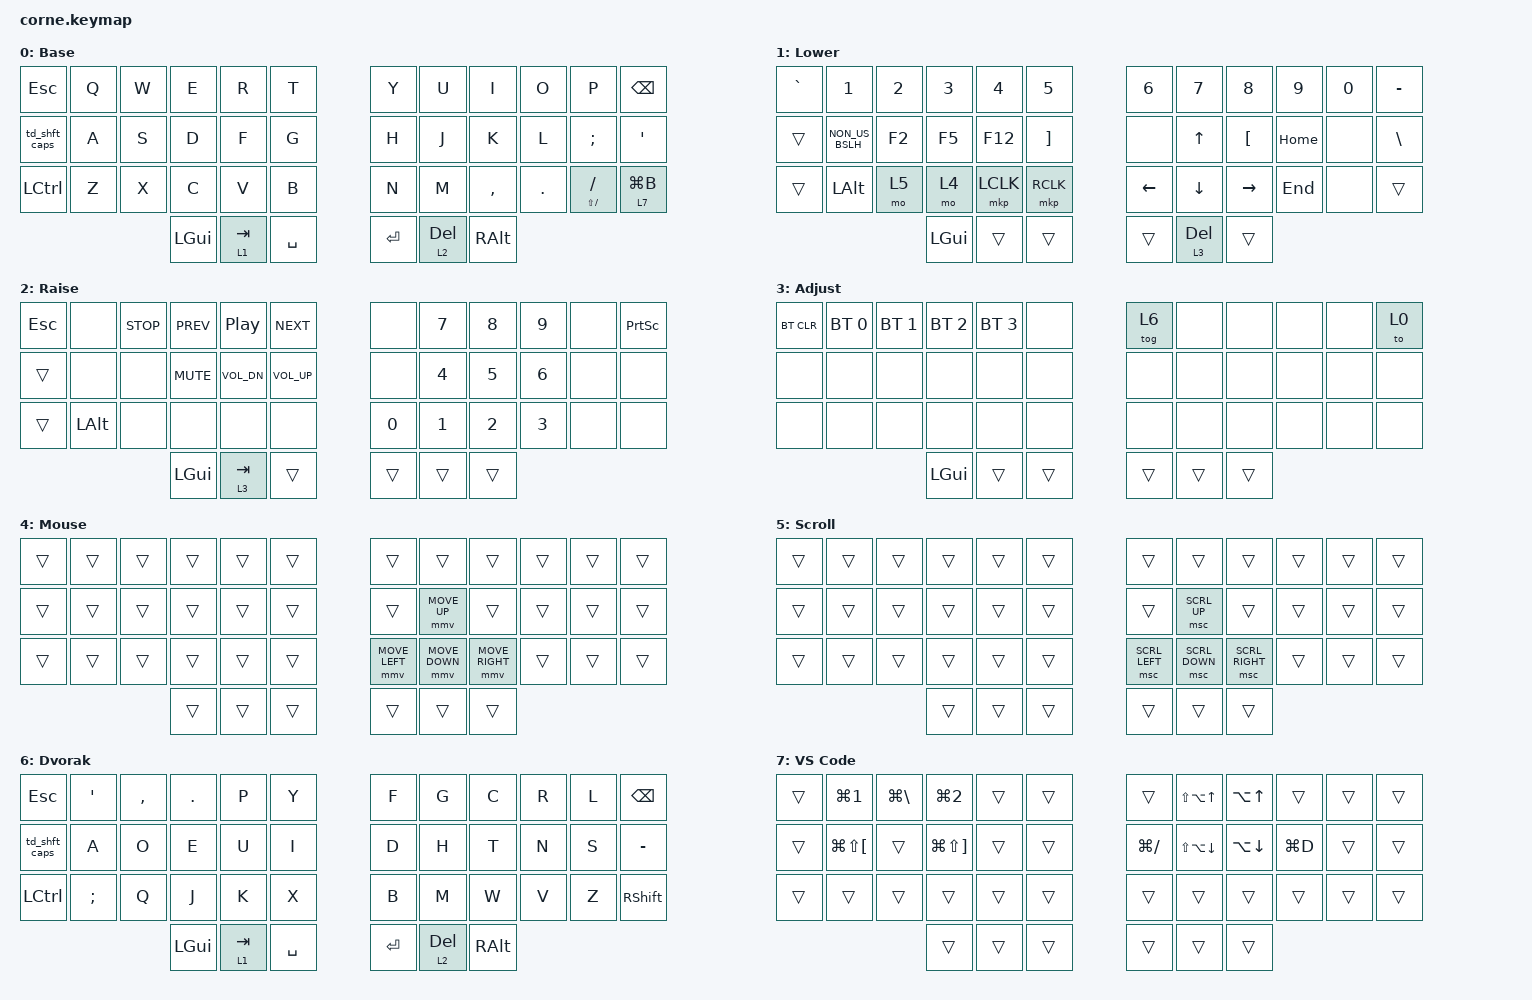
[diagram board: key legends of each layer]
/*
 * Copyright (c) 2020 The ZMK Contributors
 *
 * SPDX-License-Identifier: MIT
 */

#include <behaviors.dtsi>
#include <dt-bindings/zmk/keys.h>
#include <dt-bindings/zmk/bt.h>
#include <dt-bindings/zmk/pointing.h>

/ {
    behaviors {
        // Tap Dance: 1 toque = Shift Izq, 2 toques = Bloq Mayus
        td_shft_caps: tap_dance_shift_caps {
            compatible = "zmk,behavior-tap-dance";
            #binding-cells = <0>;
            tapping-term-ms = <200>;
            bindings = <&kp LSHFT>, <&kp CAPSLOCK>;
        };

        // Hold-Tap Personalizado: Mantener = Guion Bajo, Tocar = Guion Medio
        ht_under: hold_tap_under {
            compatible = "zmk,behavior-hold-tap";
            #binding-cells = <2>;
            flavor = "tap-preferred";
            tapping-term-ms = <200>;
            bindings = <&kp>, <&kp>;
        };
        
        // Configuración de movimiento del Mouse (Aceleración) original
        mmv {
            acceleration-exponent = <1>;
            time-to-max-speed-ms = <300>;
            delay-ms = <0>;
        };

        // Configuración de Scroll original
        msc {
            acceleration-exponent = <0>;
            time-to-max-speed-ms = <0>;
            delay-ms = <0>;
        };
    };

    combos {
        compatible = "zmk,combos";
        
        // COMBO: ESC + E = Format Code (Shift + Alt + F)
        combo_vscode_format {
            timeout-ms = <50>;
            key-positions = <0 3>; 
            bindings = <&kp LS(LA(F))>;
        };

        // COMBO: ESC + P = Command Palette (Shift + CMD/GUI + P)
        combo_vscode_palette {
            timeout-ms = <50>;
            key-positions = <0 10>; 
            bindings = <&kp LS(LG(P))>;
        };

        // COMBO: ESC + R = Screenshot Recorte (Shift + CMD/GUI + 4)
        combo_mac_screenshot_4 {
            timeout-ms = <50>;
            key-positions = <0 4>; 
            bindings = <&kp LS(LG(N4))>;
        };

        // COMBO: ESC + T = Screenshot Herramienta/Video (Shift + CMD/GUI + 5)
        combo_mac_screenshot_5 {
            timeout-ms = <50>;
            key-positions = <0 5>; 
            bindings = <&kp LS(LG(N5))>;
        };
    };

    keymap {
        compatible = "zmk,keymap";

        default_layer {
            display-name = "Base";
// -----------------------------------------------------------------------------------------
// |  ESC |  Q  |  W  |  E  |  R  |  T  |   |  Y  |  U   |  I  |  O  |  P  | BSPC |
// | SHFT*|  A  |  S  |  D  |  F  |  G  |   |  H  |  J   |  K  |  L  |  ;  |  '   |
// | CTRL |  Z  |  X  |  C  |  V  |  B  |   |  N  |  M   |  ,  |  .  | _/- | VSCD |
//                    | GUI | LWR | SPC |   | ENT | RSE  | ALT |
            bindings = <
   &kp ESC       &kp Q &kp W &kp E &kp R &kp T   &kp Y &kp U  &kp I     &kp O   &kp P    &kp BSPC
   &td_shft_caps &kp A &kp S &kp D &kp F &kp G   &kp H &kp J  &kp K     &kp L   &kp SEMI &kp SQT
   &kp LCTRL     &kp Z &kp X &kp C &kp V &kp B   &kp N &kp M  &kp COMMA &kp DOT &ht_under LS(FSLH) FSLH  &lt 7 LG(B)
                 &kp LGUI &lt 1 TAB &kp SPACE    &kp RET &lt 2 DEL &kp RALT
            >;
        };

        lower_layer {
            display-name = "Lower";
// -----------------------------------------------------------------------------------------
// |  `   |  1  |  2  |  3  |  4  |  5  |   |  6  |  7  |  8  |  9  |  0  |  -   |
// | TRNS | NUBS| F2  | F5  | F12 |  ]  |   | NONE|  UP  |  [  | HOME| NONE|  \   |
// | TRNS | ALT | SCRL|MOUSE| LCLK| RCLK|   | LFT | DWN  | RGT | END | NONE| TRNS |
//                    | GUI | TRNS| TRNS|   | TRNS| ADJ  | TRNS|
            bindings = <
   &kp GRAVE  &kp N1      &kp N2 &kp N3 &kp N4 &kp N5      &kp N6   &kp N7   &kp N8    &kp N9    &kp N0 &kp MINUS
   &trans     &kp NON_US_BSLH &kp F2 &kp F5 &kp F12 &kp RBKT    &none    &kp UP   &kp LBKT  &kp HOME  &none  &kp BSLH
   &trans     &kp LALT    &mo 5  &mo 4  &mkp LCLK &mkp RCLK  &kp LEFT &kp DOWN &kp RIGHT &kp END   &none  &trans
                          &kp LGUI &trans &trans           &trans   &lt 3 DEL &trans
            >;
        };

        raise_layer {
            display-name = "Raise";
// -----------------------------------------------------------------------------------------
// | ESC  | NONE| STOP| PREV| PLAY| NEXT|   | NONE|  7  |  8  |  9  | NONE| PSCRN|
// | TRNS | NONE| NONE| MUTE| VDN | VUP |   | NONE|  4  |  5  |  6  | NONE| NONE |
// | TRNS | ALT | NONE| NONE| NONE| NONE|   |  0  |  1  |  2  |  3  | NONE| NONE |
//                    | GUI | ADJ | TRNS|   | TRNS| TRNS| TRNS|
            bindings = <
   &kp ESC &none    &kp C_STOP &kp C_PREV &kp C_PP     &kp C_NEXT      &none  &kp N7 &kp N8 &kp N9 &none &kp PSCRN
   &trans  &none    &none      &kp C_MUTE &kp C_VOL_DN &kp C_VOL_UP    &none  &kp N4 &kp N5 &kp N6 &none &none
   &trans  &kp LALT &none      &none      &none        &none           &kp N0 &kp N1 &kp N2 &kp N3 &none &none
                               &kp LGUI   &lt 3 TAB    &trans          &trans &trans &trans
            >;
        };

        adjust_layer {
            display-name = "Adjust";
// -----------------------------------------------------------------------------------------
// | BTCLR | BT1| BT2 | BT3 | BT4 | NONE |   |TG DVR| NONE| NONE| NONE| NONE| QWRT|
// | NONE  | NONE| NONE| NONE| NONE| NONE|   | NONE| NONE| NONE| NONE| NONE| NONE |
// | NONE  | NONE| NONE| NONE| NONE| NONE|   | NONE| NONE| NONE| NONE| NONE| NONE |
//                     | GUI | TRNS| TRNS|   | TRNS| TRNS| TRNS|
            bindings = <
   &bt BT_CLR &bt BT_SEL 0 &bt BT_SEL 1 &bt BT_SEL 2 &bt BT_SEL 3 &none   &tog 6 &none &none &none &none &to 0
   &none       &none      &none        &none        &none        &none          &none  &none &none &none &none &none
   &none       &none      &none        &none        &none        &none          &none  &none &none &none &none &none
                          &kp LGUI     &trans       &trans                      &trans &trans &trans
            >;
        };

        mouse_layer {
            display-name = "Mouse";
            bindings = <
   &trans &trans &trans &trans &trans &trans    &trans &trans &trans &trans &trans &trans
   &trans &trans &trans &trans &trans &trans    &trans &mmv MOVE_UP &trans &trans &trans &trans
   &trans &trans &trans &trans &trans &trans    &mmv MOVE_LEFT &mmv MOVE_DOWN &mmv MOVE_RIGHT &trans &trans &trans
                        &trans &trans &trans    &trans &trans &trans
            >;
        };

        scroll_layer {
            display-name = "Scroll";
            bindings = <
   &trans &trans &trans &trans &trans &trans    &trans &trans        &trans &trans &trans &trans
   &trans &trans &trans &trans &trans &trans    &trans &msc SCRL_UP  &trans &trans &trans &trans
   &trans &trans &trans &trans &trans &trans    &msc SCRL_LEFT &msc SCRL_DOWN &msc SCRL_RIGHT &trans &trans &trans
                        &trans &trans &trans    &trans &trans &trans
            >;
        };

        dvorak_layer {
            display-name = "Dvorak";
// -----------------------------------------------------------------------------------------
// |  ESC |  '  |  ,  |  .  |  P  |  Y  |   |  F  |  G   |  C  |  R  |  L  | BSPC |
// | SHFT*|  A  |  O  |  E  |  U  |  I  |   |  D  |  H   |  T  |  N  |  S  |  -   |
// | CTRL |  ;  |  Q  |  J  |  K  |  X  |   |  B  |  M   |  W  |  V  |  Z  | SHFT |
//                    | GUI | LWR | SPC |   | ENT | RSE  | ALT |
            bindings = <
   &kp ESC       &kp SQT  &kp COMMA &kp DOT &kp P &kp Y   &kp F &kp G  &kp C &kp R &kp L &kp BSPC
   &td_shft_caps &kp A    &kp O     &kp E   &kp U &kp I   &kp D &kp H  &kp T &kp N &kp S &kp MINUS
   &kp LCTRL     &kp SEMI &kp Q     &kp J   &kp K &kp X   &kp B &kp M  &kp W &kp V &kp Z &kp RSHFT
                 &kp LGUI &lt 1 TAB &kp SPACE             &kp RET &lt 2 DEL &kp RALT
            >;
        };

        vscode_layer {
            display-name = "VS Code";
// -----------------------------------------------------------------------------------------
// |      |FOC_L| SPLIT| FOC_R|     |     |   |     | DUP_U| M_UP |     |     |      |
// |      |PRV_T|      | NXT_T|     |     |   |CMNT | DUP_D| M_DN | SEL_M|     |      |
// |      |     |      |      |     |     |   |     |      |      |      |     |      |
//                    |      |     |     |   |     |      |      |
            bindings = <
   &trans &kp LG(N1)    &kp LG(BSLH)   &kp LG(N2)       &trans &trans   &trans     &kp LS(LA(UP))   &kp LA(UP)   &trans   &trans &trans
   &trans &kp LG(LS(LBKT)) &trans      &kp LG(LS(RBKT)) &trans &trans   &kp LG(FSLH) &kp LS(LA(DOWN)) &kp LA(DOWN) &kp LG(D) &trans &trans
   &trans &trans        &trans         &trans           &trans &trans   &trans     &trans           &trans       &trans   &trans &trans
                        &trans         &trans           &trans          &trans     &trans           &trans
            >;
        };
    };
};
